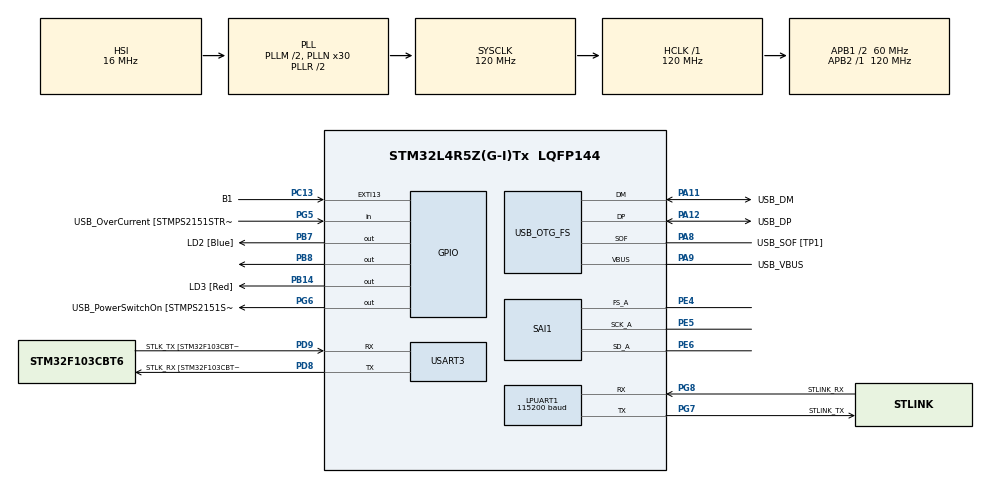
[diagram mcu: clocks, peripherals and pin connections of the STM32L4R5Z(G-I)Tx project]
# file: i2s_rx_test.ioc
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Dma.Request0=SAI1_A
Dma.SAI1_A.0.Direction=DMA_PERIPH_TO_MEMORY
Dma.SAI1_A.0.EventEnable=DISABLE
Dma.SAI1_A.0.Instance=DMA1_Channel1
Dma.SAI1_A.0.MemDataAlignment=DMA_MDATAALIGN_HALFWORD
Dma.SAI1_A.0.MemInc=DMA_MINC_ENABLE
Dma.SAI1_A.0.Mode=DMA_NORMAL
Dma.SAI1_A.0.PeriphDataAlignment=DMA_PDATAALIGN_HALFWORD
Dma.SAI1_A.0.PeriphInc=DMA_PINC_DISABLE
Dma.SAI1_A.0.Polarity=HAL_DMAMUX_REQUEST_GEN_RISING
Dma.SAI1_A.0.Priority=DMA_PRIORITY_MEDIUM
Dma.SAI1_A.0.RequestNumber=1
Dma.SAI1_A.0.SignalID=NONE
Dma.SAI1_A.0.SyncEnable=DISABLE
Dma.SAI1_A.0.SyncPolarity=HAL_DMAMUX_SYNC_NO_EVENT
Dma.SAI1_A.0.SyncRequestNumber=1
Dma.SAI1_A.0.SyncSignalID=NONE
LPUART1.BaudRate=115200
LPUART1.StopBits=UART_STOPBITS_2
LPUART1.WordLength=UART_WORDLENGTH_8B
Mcu.Family=STM32L4
Mcu.Name=STM32L4R5Z(G-I)Tx
Mcu.Package=LQFP144
NVIC.DMA1_Channel1_IRQn=true\:0\:0\:false\:false\:true\:false\:true\:true
NVIC.PriorityGroup=NVIC_PRIORITYGROUP_4
NVIC.SAI1_IRQn=true\:0\:0\:false\:false\:true\:true\:true\:true
PA10.GPIO_Label=USB_ID
PA10.Signal=USB_OTG_FS_ID
PA11.GPIO_Label=USB_DM
PA11.Mode=Device_Only
PA11.Signal=USB_OTG_FS_DM
PA12.GPIO_Label=USB_DP
PA12.Mode=Device_Only
PA12.Signal=USB_OTG_FS_DP
PA13\ (JTMS/SWDIO).GPIO_Label=TMS
PA13\ (JTMS/SWDIO).Mode=Trace_Asynchronous_SW
PA13\ (JTMS/SWDIO).Signal=SYS_JTMS-SWDIO
PA14\ (JTCK/SWCLK).GPIO_Label=TCK
PA14\ (JTCK/SWCLK).Mode=Trace_Asynchronous_SW
PA14\ (JTCK/SWCLK).Signal=SYS_JTCK-SWCLK
PA8.GPIO_Label=USB_SOF [TP1]
PA8.Mode=Activate_SOF_FS
PA8.Signal=USB_OTG_FS_SOF
PA9.GPIO_Label=USB_VBUS
PA9.Mode=Activate_VBUS
PA9.Signal=USB_OTG_FS_VBUS
PB14.GPIO_Label=LD3 [Red]
PB14.Signal=GPIO_Output
PB3\ (JTDO/TRACESWO).GPIO_Label=SWO
PB3\ (JTDO/TRACESWO).Mode=Trace_Asynchronous_SW
PB3\ (JTDO/TRACESWO).Signal=SYS_JTDO-SWO
PB7.GPIO_Label=LD2 [Blue]
PB7.Signal=GPIO_Output
PB8.GPIO_Speed=GPIO_SPEED_FREQ_HIGH
PB8.Signal=GPIO_Output
PC13.GPIO_Label=B1
PC13.Signal=GPXTI13
PC14-OSC32_IN\ (PC14).Mode=LSE-External-Oscillator
PC14-OSC32_IN\ (PC14).Signal=RCC_OSC32_IN
PC15-OSC32_OUT\ (PC15).Mode=LSE-External-Oscillator
PC15-OSC32_OUT\ (PC15).Signal=RCC_OSC32_OUT
PD8.GPIO_Label=STLK_RX [STM32F103CBT6_PA3]
PD8.Mode=Asynchronous
PD8.Signal=USART3_TX
PD9.GPIO_Label=STLK_TX [STM32F103CBT6_PA2]
PD9.Mode=Asynchronous
PD9.Signal=USART3_RX
PE4.GPIO_PuPd=GPIO_PULLUP
PE4.Mode=SAI_A_AsyncSlave
PE4.Signal=SAI1_FS_A
PE5.GPIO_PuPd=GPIO_PULLUP
PE5.Mode=SAI_A_AsyncSlave
PE5.Signal=SAI1_SCK_A
PE6.GPIO_PuPd=GPIO_PULLUP
PE6.Mode=SAI_A_AsyncSlave
PE6.Signal=SAI1_SD_A
PG5.GPIO_Label=USB_OverCurrent [STMPS2151STR_FAULT]
PG5.Signal=GPIO_Input
PG6.GPIO_Label=USB_PowerSwitchOn [STMPS2151STR_EN]
PG6.Signal=GPIO_Output
PG7.GPIO_Label=STLINK_TX
PG7.Mode=Asynchronous
PG7.Signal=LPUART1_TX
PG8.GPIO_Label=STLINK_RX
PG8.Mode=Asynchronous
PG8.Signal=LPUART1_RX
PH0-OSC_IN\ (PH0).Signal=RCC_OSC_IN
PH1-OSC_OUT\ (PH1).Signal=RCC_OSC_OUT
ProjectManager.HeapSize=0x200
ProjectManager.StackSize=0x400
ProjectManager.TargetToolchain=STM32CubeIDE
RCC.48MHZClocksFreq_Value=24000000
RCC.ADCFreq_Value=96000000
RCC.AHBFreq_Value=120000000
RCC.APB1CLKDivider=RCC_HCLK_DIV2
RCC.APB1Freq_Value=60000000
RCC.APB1TimFreq_Value=120000000
RCC.APB2Freq_Value=120000000
RCC.APB2TimFreq_Value=120000000
RCC.CK48CLockSelection=RCC_USBCLKSOURCE_HSI48
RCC.CortexFreq_Value=120000000
RCC.HCLKFreq_Value=120000000
RCC.HSE_VALUE=8000000
RCC.HSI48_VALUE=48000000
RCC.HSI_VALUE=16000000
RCC.MSI_VALUE=4000000
RCC.PLLM1=2
RCC.PLLMUL=RCC_PLL_MUL9
RCC.PLLN=30
RCC.PLLSAI1N=12
RCC.PLLSourceVirtual=RCC_PLLSOURCE_HSI
RCC.PRESCALERUSB=RCC_USBCLKSOURCE_PLL_DIV1_5
RCC.SYSCLKFreq_VALUE=120000000
RCC.SYSCLKSource=RCC_SYSCLKSOURCE_PLLCLK
RCC.SYSCLKSourceVirtual=RCC_SYSCLKSOURCE_PLLCLK
RCC.USBFreq_Value=48000000
RCC.VCOOutputFreq_Value=240000000
SAI1.InitProtocol-SAI_A_AsyncSlave=Enable
SAI1.Instance-SAI_A_AsyncSlave=SAI$Index_Block_A
SAI1.VirtualMode-SAI_A_AsyncSlave=VM_SLAVE
SAI1.VirtualProtocol-SAI_A_BASIC=VM_BASIC_PROTOCOL
USART3.VirtualMode-Asynchronous=VM_ASYNC
USB_OTG_FS.VirtualMode=Device_Only
VP_SAI1_VP_$IpInstance_SAIA_SAI_BASIC.Mode=SAI_A_BASIC
board=NUCLEO-L4R5ZI

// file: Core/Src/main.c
/* USER CODE BEGIN Header */
/**
  ******************************************************************************
  * @file           : main.c
  * @brief          : Main program body
  ******************************************************************************
  * @attention
  *
  * Copyright (c) 2024 STMicroelectronics.
  * All rights reserved.
  *
  * This software is licensed under terms that can be found in the LICENSE file
  * in the root directory of this software component.
  * If no LICENSE file comes with this software, it is provided AS-IS.
  *
  ******************************************************************************
  */
/* USER CODE END Header */
#include "main.h"

/* USER CODE BEGIN Includes */
#include <string.h>
#include <stdlib.h>
#include <stdio.h>
#include <stdarg.h>

/* USER CODE END Includes */

/* USER CODE BEGIN PTD */

#define LOG_BUFFER_SIZE 4096
typedef struct {
    char buffer[LOG_BUFFER_SIZE];
    size_t current_pos;
} LogBuffer;

/* USER CODE END PTD */

/* USER CODE BEGIN PD */
#define MIN(a, b) (((a) < (b)) ? (a) : (b))
/* USER CODE END PD */

UART_HandleTypeDef hlpuart1;
UART_HandleTypeDef huart3;

SAI_HandleTypeDef hsai_BlockA1;
DMA_HandleTypeDef hdma_sai1_a;

PCD_HandleTypeDef hpcd_USB_OTG_FS;

/* USER CODE BEGIN PV */

uint32_t g_int16s_read = 0;
uint32_t g_i2s_chunk_size_bytes = 1024;
uint32_t g_i2s_status = HAL_OK;
// two ping-pong byte buffers for DMA transfers from I2S port.
uint8_t *g_i2s_buffer0 = NULL;
uint8_t *g_i2s_buffer1 = NULL;
uint8_t *g_i2s_current_buff = NULL; // will be either g_i2s_buffer0 or g_i2s_buffer1
int g_i2s_buff_sel = 0;  // 0 for buffer0, 1 for buffer1
int16_t *g_wav_record = NULL;  // buffer to store complete waveform
uint32_t g_i2s_wav_len = 32*512; // length in (16b) samples
int g_i2s_rx_in_progess = 0;
LogBuffer g_log = { .buffer = {0}, .current_pos = 0 };

int num_calls=0;

/* USER CODE END PV */

void SystemClock_Config(void);
static void MX_GPIO_Init(void);
static void MX_DMA_Init(void);
static void MX_LPUART1_UART_Init(void);
static void MX_USART3_UART_Init(void);
static void MX_USB_OTG_FS_PCD_Init(void);
static void MX_SAI1_Init(void);

/* USER CODE BEGIN 0 */

// These defines and this function are to get printf() working
#ifdef __GNUC__
#define PUTCHAR_PROTOTYPE int __io_putchar(int ch)
#else
#define PUTCHAR_PROTOTYPE int fputc(int ch, FILE *f)
#endif

PUTCHAR_PROTOTYPE
{
  HAL_UART_Transmit(&hlpuart1, (uint8_t *)&ch, 1, HAL_MAX_DELAY);
  return ch;
}

void print_vals_int16(const int16_t *buffer, uint32_t num_vals)
{
	const int vals_per_line = 16;
	printf("[");
	for(uint32_t i=0;i<num_vals;i+= vals_per_line)
	{
		for(int j=0;j<vals_per_line;j++)
		{
			if(i+j >= num_vals)
			{
				break;
			}
			printf("%d, ", buffer[i+j]);
		}
		printf("\r\n");
	}
	printf("]\r\n==== Done ====\r\n");
}

void print_bytes(const uint8_t *buffer, uint32_t num_bytes)
{
	const int vals_per_line = 16;
	printf("[");
	for(uint32_t i=0;i<num_bytes;i+= vals_per_line)
	{
		for(int j=0;j<vals_per_line;j++)
		{
			if(i+j >= num_bytes)
			{
				break;
			}
			printf("0x%X, ", buffer[i+j]);
		}
		printf("\r\n");
	}
	printf("]\r\n==== Done ====\r\n");
}

void log_printf(LogBuffer *log, const char *format, ...) {
    va_list args;
    char temp_buffer[LOG_BUFFER_SIZE];
    int written;

    // Initialize the variable argument list
    va_start(args, format);

    // Write formatted output to a temporary buffer
    written = vsnprintf(temp_buffer, sizeof(temp_buffer), format, args);

    // End the variable argument list
    va_end(args);

    // Check if the formatted string fits in the remaining buffer
    if (log->current_pos + written >= LOG_BUFFER_SIZE) {
        // Buffer overflow: Zero out and reset to the beginning
        memset(log->buffer, 0, LOG_BUFFER_SIZE);
        log->current_pos = 0;
    }

    // Copy the formatted string to the log buffer
    if (written > 0) {
        size_t bytes_to_copy = (written < LOG_BUFFER_SIZE) ? written : LOG_BUFFER_SIZE - 1;
        strncpy(&log->buffer[log->current_pos], temp_buffer, bytes_to_copy);
        log->current_pos += bytes_to_copy;
    }
}

void ErrorHandler(HAL_StatusTypeDef returned_status) {
	printf("Error occured: %d\r\n", returned_status);
}

void HAL_SAI_RxCpltCallback(SAI_HandleTypeDef *hsai) {

	log_printf(&g_log, "<beg>w0=%d\r\n", g_wav_record[0]);
	int reading_complete=0;

	num_calls += 1;

	g_int16s_read += g_i2s_chunk_size_bytes/2;

	// idle_buffer is the one that will be idle after we switch
	uint8_t* idle_buffer = g_i2s_buff_sel ? g_i2s_buffer1 : g_i2s_buffer0;
	g_i2s_buff_sel = g_i2s_buff_sel ^ 1; // toggle between 0/1 => g_i2s_buffer0/1
    g_i2s_current_buff = g_i2s_buff_sel ? g_i2s_buffer1 : g_i2s_buffer0;

	if(g_int16s_read + g_i2s_chunk_size_bytes/2 <= g_i2s_wav_len){
		// there is space left for a full chunk
		g_i2s_status = HAL_SAI_Receive_DMA(hsai, g_i2s_current_buff, g_i2s_chunk_size_bytes/2);
	}
	else {
		// if there is only space for a partial read
		// i.e. (g_int16s_read < g_i2s_wav_len < g_int16s_read + g_i2s_chunk_size_bytes/2)
		// don't start the read, b/c you'll overflow the allocated buffer
		// that means you'll read less than requested, but avoid a seg-fault.
		reading_complete = 1;
	}

    HAL_GPIO_WritePin(GPIOB, GPIO_PIN_8, GPIO_PIN_SET);

    // for 1024 bytes, this memcpy takes about 50 us.
    //
	memcpy((uint8_t*)(g_wav_record+g_int16s_read-g_i2s_chunk_size_bytes/2), idle_buffer, g_i2s_chunk_size_bytes);

	// This block just for debug.
	//	uint8_t *p_bytes=NULL;

	//    p_bytes = (uint8_t*)(g_wav_record+g_int16s_read);
	log_printf(&g_log, "%d calls to RxCb\r\n", num_calls);
    log_printf(&g_log, "cb:%lu,b%d,rs=%d,st=%d.\r\n", g_int16s_read, g_i2s_buff_sel, g_i2s_status, hsai->State);
    //  log_printf(&g_log, "\t[%8X] [0x%02X, 0x%02X, 0x%02X, 0x%02X]\r\n",p_bytes, p_bytes[0], p_bytes[1], p_bytes[2], p_bytes[3]);

	int16_t *p_int16s=(int16_t*)(g_wav_record);
    log_printf(&g_log, "W0:\t[%8X] <= [%d, %d, %d, %d, %d, %d, %d, %d]\r\n",p_int16s,
        		p_int16s[0], p_int16s[1], p_int16s[2], p_int16s[3], p_int16s[4], p_int16s[5], p_int16s[6], p_int16s[7]);

    p_int16s=(int16_t*)(g_wav_record+g_int16s_read - g_i2s_chunk_size_bytes/2);
    log_printf(&g_log, "WV:\t[%8X] <= [%d, %d, %d, %d, %d, %d, %d, %d]\r\n",p_int16s,
    		p_int16s[0], p_int16s[1], p_int16s[2], p_int16s[3], p_int16s[4], p_int16s[5], p_int16s[6], p_int16s[7]);

    p_int16s=(int16_t*)g_i2s_buffer0;
    log_printf(&g_log, "B0\t[%8X] <= [%d, %d, %d, %d, %d, %d, %d, %d]\r\n",p_int16s,
    		p_int16s[0], p_int16s[1], p_int16s[2], p_int16s[3], p_int16s[4], p_int16s[5], p_int16s[6], p_int16s[7]);

    p_int16s=(int16_t*)g_i2s_buffer1;
    log_printf(&g_log, "B1\t[%8X] <= [%d, %d, %d, %d, %d, %d, %d, %d]\r\n",p_int16s,
    		p_int16s[0], p_int16s[1], p_int16s[2], p_int16s[3], p_int16s[4], p_int16s[5], p_int16s[6], p_int16s[7]);

    // end debug block

    if( reading_complete ){
    	printf("DMA Receive completed %lu int16s read out of %lu requested\r\n", g_int16s_read, g_i2s_wav_len);
    	print_vals_int16(g_wav_record, g_int16s_read);
    	g_i2s_rx_in_progess = 0;
    }
    HAL_GPIO_WritePin(GPIOB, GPIO_PIN_8, GPIO_PIN_RESET);
    log_printf(&g_log, "<end>w0=%d\r\n", g_wav_record[0]);
}

uint32_t receive_i2s_blocking(uint8_t *buff_ptr, uint32_t max_chars)
{
	uint32_t i2s_status = HAL_OK;
	uint32_t i2s_timeout_ms = 1000;
	uint32_t bytes_read = 0;
	uint32_t i2s_chunk_size = 64;

	// Do a first read with a longer timeout value (5s)
	i2s_status = HAL_SAI_Receive(&hsai_BlockA1, buff_ptr, i2s_chunk_size, 5000);
	if(i2s_status == HAL_OK)
	{
		bytes_read += i2s_chunk_size;
	}

	while(i2s_status == HAL_OK && bytes_read < max_chars)
	{
		i2s_status = HAL_SAI_Receive(&hsai_BlockA1,
				buff_ptr+bytes_read,
				MIN(i2s_chunk_size, max_chars-bytes_read),
				i2s_timeout_ms);
		if(i2s_status == HAL_OK)
		{
			bytes_read += i2s_chunk_size;
		}
	}

	return bytes_read;
}

/* USER CODE END 0 */

int main(void)
{

  /* USER CODE BEGIN 1 */

  // set up variables for I2S receiving
  g_i2s_buffer0 = malloc(g_i2s_chunk_size_bytes);
  g_i2s_buffer1 = malloc(g_i2s_chunk_size_bytes);
  g_i2s_current_buff = g_i2s_buffer0;
  g_wav_record = (int16_t *)malloc(g_i2s_wav_len * sizeof(int16_t));

  // And for UART (over USB) connection to host
  uint8_t *uart_buff;
  uint32_t uart_timeout_ms = 200;
  uint32_t uart_status;

  // These memset()s are probably not needed, since we do it before starting to record
  memset(g_i2s_buffer0, 0xFF, g_i2s_chunk_size_bytes);
  memset(g_i2s_buffer1, 0xFF, g_i2s_chunk_size_bytes);
  memset(g_wav_record, 0xFF, g_i2s_wav_len*2);

  uart_buff = malloc(64);
  memset(uart_buff, 0x00, 64);
  printf("SWW Test beginning.  Just allocated buffers\r\n");

  /* USER CODE END 1 */

  /* MCU Configuration--------------------------------------------------------*/

  /* Reset of all peripherals, Initializes the Flash interface and the Systick. */
  HAL_Init();

  /* Configure the system clock */
  SystemClock_Config();

  /* Initialize all configured peripherals */
  MX_GPIO_Init();
  MX_DMA_Init();
  MX_LPUART1_UART_Init();
  MX_USART3_UART_Init();
  MX_USB_OTG_FS_PCD_Init();
  MX_SAI1_Init();

  /* Infinite loop */
  /* USER CODE BEGIN WHILE */

  while (1)
  {
	  uart_status = HAL_UART_Receive(&hlpuart1, uart_buff, 1, uart_timeout_ms);
	  if(uart_status == HAL_OK) {  // otherwise timeout => no key input
		 if( uart_buff[0] == 'r') { // read from I2S
			 if(0 && g_i2s_rx_in_progess ) {
				 printf("I2S Rx currently in progress. Ignoring request\r\n");
			 }
			 else {
				 g_i2s_rx_in_progess = 1;
				 g_int16s_read = 0;
				 printf("Listening for I2S data ... \r\n");
				 memset(g_wav_record, 0xFF, g_i2s_wav_len*2); // *2 b/c wav_len is int16s
				 memset(g_i2s_buffer0, 0x55, g_i2s_chunk_size_bytes);
				 memset(g_i2s_buffer1, 0x55, g_i2s_chunk_size_bytes);

				 g_i2s_status = HAL_SAI_Receive_DMA(&hsai_BlockA1, g_i2s_current_buff, g_i2s_chunk_size_bytes/2);
				 // you can also check hsai->State
				 printf("DMA receive initiated. status=%lu, state=%d\r\n", g_i2s_status, hsai_BlockA1.State);
				 printf("    Status: 0=OK, 1=Error, 2=Busy, 3=Timeout; State: 0=Reset, 1=Ready, 2=Busy (internal process), 18=Busy (Tx), 34=Busy (Rx)\r\n");
			 }
		 }
		 else if( uart_buff[0] == 's') { // Print SAI status and toggle pin
			 HAL_GPIO_WritePin(GPIOB, GPIO_PIN_8, GPIO_PIN_SET);
			 printf("I2S Status = %lu. SAI Status = %d, Xfer count=%d, Xfer size=%d, %lu samples read, buffer <%d> active, RX in progress: %d\r\n",
					 g_i2s_status, hsai_BlockA1.State, hsai_BlockA1.XferCount, hsai_BlockA1.XferSize,
					 g_int16s_read, g_i2s_buff_sel, g_i2s_rx_in_progess);

			 // hsai_BlockA1.State: 0=Reset, 1=Ready, 2=Busy (internal process), 18=Busy (Tx), 34=Busy (Rx)

			 HAL_GPIO_WritePin(GPIOB, GPIO_PIN_8, GPIO_PIN_RESET);
		 }
		 else if( uart_buff[0] == 't') { // toggle GPIO pin
			 HAL_GPIO_WritePin(GPIOB, GPIO_PIN_8, GPIO_PIN_SET);
			 HAL_Delay(10);
			 HAL_GPIO_WritePin(GPIOB, GPIO_PIN_8, GPIO_PIN_RESET);
		 }
		 else if( uart_buff[0] == 'l') { // print and reset log
			 printf("Log contents[cp=%u]:\r\n<%s>\r\n", g_log.current_pos, g_log.buffer);
			 memset(g_log.buffer, 0, LOG_BUFFER_SIZE);
			 g_log.current_pos = 0;
		 }
		 else if( uart_buff[0] == '0') { // print buffer 0
			 printf("Buffer 0: \r\n");
			 print_vals_int16((int16_t *)g_i2s_buffer0, g_i2s_chunk_size_bytes/2);
			 // print_bytes(g_i2s_buffer0, g_i2s_chunk_size_bytes);
		 }
		 else if( uart_buff[0] == '1') { // print buffer 1b
			 printf("Buffer 1: \r\n");
			 print_vals_int16((int16_t *)g_i2s_buffer1, g_i2s_chunk_size_bytes/2);
			 // print_bytes(g_i2s_buffer1, g_i2s_chunk_size_bytes);
		 }
		 else if( uart_buff[0] == 'w') { // print wav_record as bytes
			 printf("Wav record as ints: \r\n");
			 print_vals_int16(g_wav_record, g_i2s_chunk_size_bytes/2);
			 // print_bytes((uint8_t *)g_wav_record, g_int16s_read*2);
		 }
		 else if( uart_buff[0] == 'b') { // print wav_record as bytes
			 printf("Set a breakpoint here if you want: \r\n");
		 }
		 else {
			 printf("Unexpected character: %c\r\n", uart_buff[0]);
		 }

	  }
	  //

    /* USER CODE END WHILE */

  }
}

void SystemClock_Config(void)
{
  RCC_OscInitTypeDef RCC_OscInitStruct = {0};
  RCC_ClkInitTypeDef RCC_ClkInitStruct = {0};

  /** Configure the main internal regulator output voltage
  */
  if (HAL_PWREx_ControlVoltageScaling(PWR_REGULATOR_VOLTAGE_SCALE1_BOOST) != HAL_OK)
  {
    Error_Handler();
  }

  /** Initializes the RCC Oscillators according to the specified parameters
  * in the RCC_OscInitTypeDef structure.
  */
  RCC_OscInitStruct.OscillatorType = RCC_OSCILLATORTYPE_HSI48|RCC_OSCILLATORTYPE_HSI;
  RCC_OscInitStruct.HSIState = RCC_HSI_ON;
  RCC_OscInitStruct.HSI48State = RCC_HSI48_ON;
  RCC_OscInitStruct.HSICalibrationValue = RCC_HSICALIBRATION_DEFAULT;
  RCC_OscInitStruct.PLL.PLLState = RCC_PLL_ON;
  RCC_OscInitStruct.PLL.PLLSource = RCC_PLLSOURCE_HSI;
  RCC_OscInitStruct.PLL.PLLM = 2;
  RCC_OscInitStruct.PLL.PLLN = 30;
  RCC_OscInitStruct.PLL.PLLP = RCC_PLLP_DIV2;
  RCC_OscInitStruct.PLL.PLLQ = RCC_PLLQ_DIV2;
  RCC_OscInitStruct.PLL.PLLR = RCC_PLLR_DIV2;
  if (HAL_RCC_OscConfig(&RCC_OscInitStruct) != HAL_OK)
  {
    Error_Handler();
  }

  /** Initializes the CPU, AHB and APB buses clocks
  */
  RCC_ClkInitStruct.ClockType = RCC_CLOCKTYPE_HCLK|RCC_CLOCKTYPE_SYSCLK
                              |RCC_CLOCKTYPE_PCLK1|RCC_CLOCKTYPE_PCLK2;
  RCC_ClkInitStruct.SYSCLKSource = RCC_SYSCLKSOURCE_PLLCLK;
  RCC_ClkInitStruct.AHBCLKDivider = RCC_SYSCLK_DIV1;
  RCC_ClkInitStruct.APB1CLKDivider = RCC_HCLK_DIV2;
  RCC_ClkInitStruct.APB2CLKDivider = RCC_HCLK_DIV1;

  if (HAL_RCC_ClockConfig(&RCC_ClkInitStruct, FLASH_LATENCY_5) != HAL_OK)
  {
    Error_Handler();
  }
}

static void MX_LPUART1_UART_Init(void)
{

  hlpuart1.Instance = LPUART1;
  hlpuart1.Init.BaudRate = 115200;
  hlpuart1.Init.WordLength = UART_WORDLENGTH_8B;
  hlpuart1.Init.StopBits = UART_STOPBITS_2;
  hlpuart1.Init.Parity = UART_PARITY_NONE;
  hlpuart1.Init.Mode = UART_MODE_TX_RX;
  hlpuart1.Init.HwFlowCtl = UART_HWCONTROL_NONE;
  hlpuart1.Init.OneBitSampling = UART_ONE_BIT_SAMPLE_DISABLE;
  hlpuart1.Init.ClockPrescaler = UART_PRESCALER_DIV1;
  hlpuart1.AdvancedInit.AdvFeatureInit = UART_ADVFEATURE_NO_INIT;
  hlpuart1.FifoMode = UART_FIFOMODE_DISABLE;
  if (HAL_UART_Init(&hlpuart1) != HAL_OK)
  {
    Error_Handler();
  }
  if (HAL_UARTEx_SetTxFifoThreshold(&hlpuart1, UART_TXFIFO_THRESHOLD_1_8) != HAL_OK)
  {
    Error_Handler();
  }
  if (HAL_UARTEx_SetRxFifoThreshold(&hlpuart1, UART_RXFIFO_THRESHOLD_1_8) != HAL_OK)
  {
    Error_Handler();
  }
  if (HAL_UARTEx_DisableFifoMode(&hlpuart1) != HAL_OK)
  {
    Error_Handler();
  }

}

static void MX_USART3_UART_Init(void)
{

  huart3.Instance = USART3;
  huart3.Init.BaudRate = 115200;
  huart3.Init.WordLength = UART_WORDLENGTH_8B;
  huart3.Init.StopBits = UART_STOPBITS_1;
  huart3.Init.Parity = UART_PARITY_NONE;
  huart3.Init.Mode = UART_MODE_TX_RX;
  huart3.Init.HwFlowCtl = UART_HWCONTROL_NONE;
  huart3.Init.OverSampling = UART_OVERSAMPLING_16;
  huart3.Init.OneBitSampling = UART_ONE_BIT_SAMPLE_DISABLE;
  huart3.Init.ClockPrescaler = UART_PRESCALER_DIV1;
  huart3.AdvancedInit.AdvFeatureInit = UART_ADVFEATURE_NO_INIT;
  if (HAL_UART_Init(&huart3) != HAL_OK)
  {
    Error_Handler();
  }
  if (HAL_UARTEx_SetTxFifoThreshold(&huart3, UART_TXFIFO_THRESHOLD_1_8) != HAL_OK)
  {
    Error_Handler();
  }
  if (HAL_UARTEx_SetRxFifoThreshold(&huart3, UART_RXFIFO_THRESHOLD_1_8) != HAL_OK)
  {
    Error_Handler();
  }
  if (HAL_UARTEx_DisableFifoMode(&huart3) != HAL_OK)
  {
    Error_Handler();
  }

}

static void MX_SAI1_Init(void)
{

  hsai_BlockA1.Instance = SAI1_Block_A;
  hsai_BlockA1.Init.AudioMode = SAI_MODESLAVE_RX;
  hsai_BlockA1.Init.Synchro = SAI_ASYNCHRONOUS;
  hsai_BlockA1.Init.OutputDrive = SAI_OUTPUTDRIVE_DISABLE;
  hsai_BlockA1.Init.FIFOThreshold = SAI_FIFOTHRESHOLD_EMPTY;
  hsai_BlockA1.Init.SynchroExt = SAI_SYNCEXT_DISABLE;
  hsai_BlockA1.Init.MonoStereoMode = SAI_STEREOMODE;
  hsai_BlockA1.Init.CompandingMode = SAI_NOCOMPANDING;
  hsai_BlockA1.Init.TriState = SAI_OUTPUT_NOTRELEASED;
  if (HAL_SAI_InitProtocol(&hsai_BlockA1, SAI_I2S_STANDARD, SAI_PROTOCOL_DATASIZE_16BIT, 2) != HAL_OK)
  {
    Error_Handler();
  }

}

static void MX_USB_OTG_FS_PCD_Init(void)
{

  hpcd_USB_OTG_FS.Instance = USB_OTG_FS;
  hpcd_USB_OTG_FS.Init.dev_endpoints = 6;
  hpcd_USB_OTG_FS.Init.speed = PCD_SPEED_FULL;
  hpcd_USB_OTG_FS.Init.phy_itface = PCD_PHY_EMBEDDED;
  hpcd_USB_OTG_FS.Init.Sof_enable = ENABLE;
  hpcd_USB_OTG_FS.Init.low_power_enable = DISABLE;
  hpcd_USB_OTG_FS.Init.lpm_enable = DISABLE;
  hpcd_USB_OTG_FS.Init.battery_charging_enable = ENABLE;
  hpcd_USB_OTG_FS.Init.use_dedicated_ep1 = DISABLE;
  hpcd_USB_OTG_FS.Init.vbus_sensing_enable = ENABLE;
  if (HAL_PCD_Init(&hpcd_USB_OTG_FS) != HAL_OK)
  {
    Error_Handler();
  }

}

static void MX_DMA_Init(void)
{

  /* DMA controller clock enable */
  __HAL_RCC_DMAMUX1_CLK_ENABLE();
  __HAL_RCC_DMA1_CLK_ENABLE();

  /* DMA interrupt init */
  /* DMA1_Channel1_IRQn interrupt configuration */
  HAL_NVIC_SetPriority(DMA1_Channel1_IRQn, 0, 0);
  HAL_NVIC_EnableIRQ(DMA1_Channel1_IRQn);

}

static void MX_GPIO_Init(void)
{
  GPIO_InitTypeDef GPIO_InitStruct = {0};

  /* GPIO Ports Clock Enable */
  __HAL_RCC_GPIOE_CLK_ENABLE();
  __HAL_RCC_GPIOC_CLK_ENABLE();
  __HAL_RCC_GPIOH_CLK_ENABLE();
  __HAL_RCC_GPIOB_CLK_ENABLE();
  __HAL_RCC_GPIOD_CLK_ENABLE();
  __HAL_RCC_GPIOG_CLK_ENABLE();
  HAL_PWREx_EnableVddIO2();
  __HAL_RCC_GPIOA_CLK_ENABLE();

  /*Configure GPIO pin Output Level */
  HAL_GPIO_WritePin(GPIOB, LD3_Pin|LD2_Pin|GPIO_PIN_8, GPIO_PIN_RESET);

  /*Configure GPIO pin Output Level */
  HAL_GPIO_WritePin(USB_PowerSwitchOn_GPIO_Port, USB_PowerSwitchOn_Pin, GPIO_PIN_RESET);

  /*Configure GPIO pin : B1_Pin */
  GPIO_InitStruct.Pin = B1_Pin;
  GPIO_InitStruct.Mode = GPIO_MODE_IT_RISING;
  GPIO_InitStruct.Pull = GPIO_NOPULL;
  HAL_GPIO_Init(B1_GPIO_Port, &GPIO_InitStruct);

  /*Configure GPIO pins : LD3_Pin LD2_Pin */
  GPIO_InitStruct.Pin = LD3_Pin|LD2_Pin;
  GPIO_InitStruct.Mode = GPIO_MODE_OUTPUT_PP;
  GPIO_InitStruct.Pull = GPIO_NOPULL;
  GPIO_InitStruct.Speed = GPIO_SPEED_FREQ_LOW;
  HAL_GPIO_Init(GPIOB, &GPIO_InitStruct);

  /*Configure GPIO pin : USB_OverCurrent_Pin */
  GPIO_InitStruct.Pin = USB_OverCurrent_Pin;
  GPIO_InitStruct.Mode = GPIO_MODE_INPUT;
  GPIO_InitStruct.Pull = GPIO_NOPULL;
  HAL_GPIO_Init(USB_OverCurrent_GPIO_Port, &GPIO_InitStruct);

  /*Configure GPIO pin : USB_PowerSwitchOn_Pin */
  GPIO_InitStruct.Pin = USB_PowerSwitchOn_Pin;
  GPIO_InitStruct.Mode = GPIO_MODE_OUTPUT_PP;
  GPIO_InitStruct.Pull = GPIO_NOPULL;
  GPIO_InitStruct.Speed = GPIO_SPEED_FREQ_LOW;
  HAL_GPIO_Init(USB_PowerSwitchOn_GPIO_Port, &GPIO_InitStruct);

  /*Configure GPIO pin : PB8 */
  GPIO_InitStruct.Pin = GPIO_PIN_8;
  GPIO_InitStruct.Mode = GPIO_MODE_OUTPUT_PP;
  GPIO_InitStruct.Pull = GPIO_NOPULL;
  GPIO_InitStruct.Speed = GPIO_SPEED_FREQ_HIGH;
  HAL_GPIO_Init(GPIOB, &GPIO_InitStruct);

}

void Error_Handler(void)
{
  __disable_irq();
  while (1)
  {
  }
}
